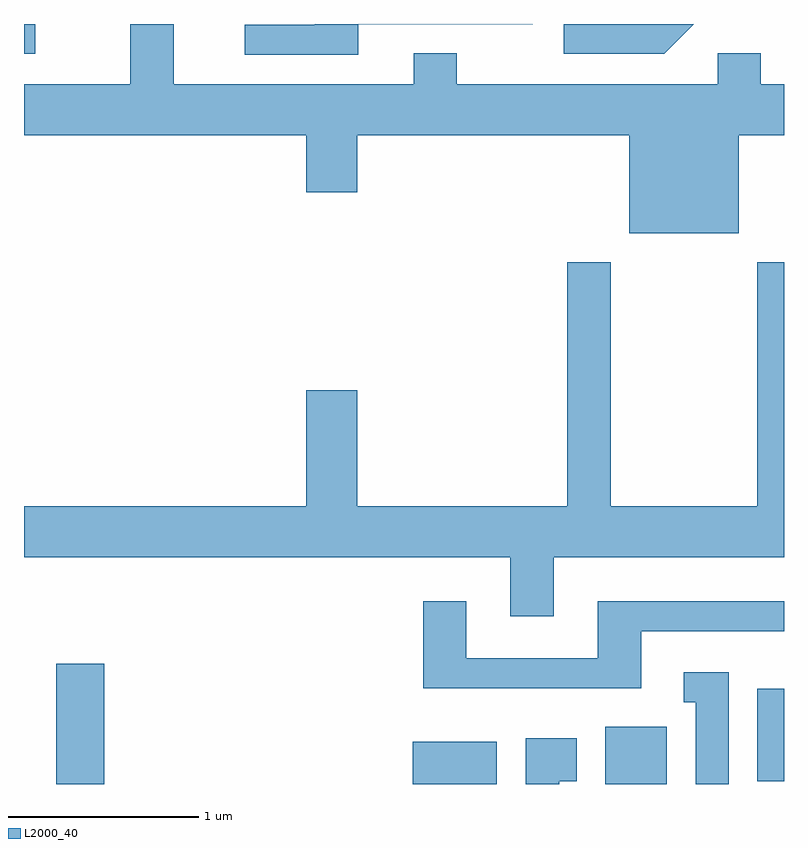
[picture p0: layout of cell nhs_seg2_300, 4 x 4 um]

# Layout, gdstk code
import gdstk
lib = gdstk.Library(unit=1e-6, precision=1e-09)
def R(c, l, rs):  # rectangles x0, y0, x1, y1
    for r in rs: c.add(gdstk.rectangle(r[:2], r[2:], *l))
def P(c, l, *ps):  # polygons
    for p in ps: c.add(gdstk.Polygon(p, *l))
L2000_40 = (2000, 40)

nhs_seg2_300 = lib.new_cell('nhs_seg2_300')
R(nhs_seg2_300, L2000_40, [(193.781,1033.802,194.034,1034.434), (195.656,1033.802,196.099,1034.024), (196.671,1033.802,196.994,1034.104), (197.471,1033.816,197.611,1034.304), (193.611,1037.646,193.669,1037.802)])
P(nhs_seg2_300, L2000_40, [(197.137,1037.802),(196.453,1037.802),(196.453,1037.646),(196.982,1037.646)],
  [(195.369,1037.801),(196.289,1037.801),(196.289,1037.802),(195.141,1037.802),(195.141,1037.799),(194.773,1037.799),(194.773,1037.641),(195.369,1037.641)],
  [(197.374,1037.216),(197.611,1037.216),(197.611,1037.484),(197.489,1037.484),(197.489,1037.649),(197.261,1037.649),(197.261,1037.484),(195.889,1037.484),(195.889,1037.649),(195.661,1037.649),(195.661,1037.484),(194.399,1037.484),(194.399,1037.802),(194.171,1037.802),(194.171,1037.484),(193.611,1037.484),(193.611,1037.216),(195.096,1037.216),(195.096,1036.916),(195.364,1036.916),(195.364,1037.216),(196.796,1037.216),(196.796,1036.701),(197.374,1036.701)],
  [(196.399,1034.996),(197.611,1034.996),(197.611,1036.549),(197.471,1036.549),(197.471,1035.264),(196.699,1035.264),(196.699,1036.549),(196.471,1036.549),(196.471,1035.264),(195.364,1035.264),(195.364,1035.874),(195.096,1035.874),(195.096,1035.264),(193.611,1035.264),(193.611,1034.996),(196.171,1034.996),(196.171,1034.686),(196.399,1034.686)],
  [(196.859,1034.606),(197.611,1034.606),(197.611,1034.764),(196.631,1034.764),(196.631,1034.464),(195.939,1034.464),(195.939,1034.764),(195.711,1034.764),(195.711,1034.306),(196.859,1034.306)],
  [(197.319,1034.389),(197.083,1034.389),(197.083,1034.231),(197.146,1034.231),(197.146,1033.802),(197.319,1033.802)],
  [(196.429,1033.816),(196.519,1033.816),(196.519,1034.044),(196.251,1034.044),(196.251,1033.802),(196.429,1033.802)])

lib.write_gds('nhs_seg2_300.gds')
